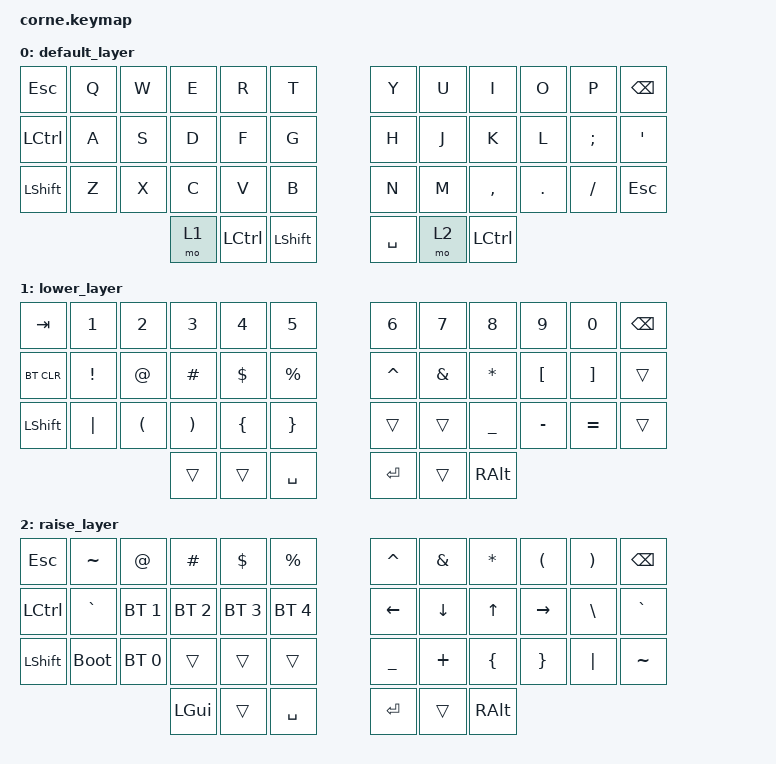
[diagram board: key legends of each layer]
/*
 * Copyright (c) 2020 The ZMK Contributors
 *
 * SPDX-License-Identifier: MIT
 */

#include <behaviors.dtsi>
#include <dt-bindings/zmk/bt.h>
#include <dt-bindings/zmk/keys.h>

/ {
    keymap {
        compatible = "zmk,keymap";

        default_layer {
            // -----------------------------------------------------------------------------------------
            // |  TAB |  Q  |  W  |  E  |  R  |  T  |   |  Y  |  U   |  I  |  O  |  P  | BSPC |
            // | CTRL |  A  |  S  |  D  |  F  |  G  |   |  H  |  J   |  K  |  L  |  ;  |  '   |
            // | SHFT |  Z  |  X  |  C  |  V  |  B  |   |  N  |  M   |  ,  |  .  |  /  | ESC  |
            //                    | GUI | LWR | SPC |   | ENT | RSE  | ALT |

            bindings = <
&kp ESCAPE  &kp Q  &kp W  &kp E  &kp R             &kp T             &kp Y      &kp U  &kp I             &kp O    &kp P     &kp BSPC
&kp LCTRL   &kp A  &kp S  &kp D  &kp F             &kp G             &kp H      &kp J  &kp K             &kp L    &kp SEMI  &kp SQT
&kp LSHFT   &kp Z  &kp X  &kp C  &kp V             &kp B             &kp N      &kp M  &kp COMMA         &kp DOT  &kp FSLH  &kp ESC
                          &mo 1  &kp LEFT_CONTROL  &kp LEFT_SHIFT    &kp SPACE  &mo 2  &kp LEFT_CONTROL
            >;
        };

        lower_layer {
            // -----------------------------------------------------------------------------------------
            // |  TAB |  1  |  2  |  3  |  4  |  5  |   |  6  |  7  |  8  |  9  |  0  | BSPC |
            // | BTCLR| BT1 | BT2 | BT3 | BT4 | BT5 |   | LFT | DWN |  UP | RGT |     |      |
            // | SHFT |     |     |     |     |     |   |     |     |     |     |     |      |
            //                    | GUI |     | SPC |   | ENT |     | ALT |

            bindings = <
&kp TAB     &kp N1           &kp N2                &kp N3                 &kp N4          &kp N5             &kp N6     &kp N7         &kp N8          &kp N9            &kp N0             &kp BSPC
&bt BT_CLR  &kp EXCLAMATION  &kp AT_SIGN           &kp HASH               &kp DOLLAR      &kp PERCENT        &kp CARET  &kp AMPERSAND  &kp ASTERISK    &kp LEFT_BRACKET  &kp RIGHT_BRACKET  &trans
&kp LSHFT   &kp PIPE         &kp LEFT_PARENTHESIS  &kp RIGHT_PARENTHESIS  &kp LEFT_BRACE  &kp RIGHT_BRACE    &trans     &trans         &kp UNDERSCORE  &kp MINUS         &kp EQUAL          &trans
                                                   &trans                 &trans          &kp SPACE          &kp RET    &trans         &kp RALT
            >;
        };

        raise_layer {
            // -----------------------------------------------------------------------------------------
            // |  TAB |  !  |  @  |  #  |  $  |  %  |   |  ^  |  &  |  *  |  (  |  )  | BSPC |
            // | CTRL |     |     |     |     |     |   |  -  |  =  |  [  |  ]  |  \  |  `   |
            // | SHFT |     |     |     |     |     |   |  _  |  +  |  {  |  }  | "|" |  ~   |
            //                    | GUI |     | SPC |   | ENT |     | ALT |

            bindings = <
&kp ESCAPE  &kp TILDE    &kp AT        &kp HASH      &kp DLLR      &kp PRCNT       &kp CARET       &kp AMPS  &kp ASTRK     &kp LPAR   &kp RPAR  &kp BSPC
&kp LCTRL   &kp GRAVE    &bt BT_SEL 1  &bt BT_SEL 2  &bt BT_SEL 3  &bt BT_SEL 4    &kp LEFT_ARROW  &kp DOWN  &kp UP_ARROW  &kp RIGHT  &kp BSLH  &kp GRAVE
&kp LSHFT   &bootloader  &bt BT_SEL 0  &trans        &trans        &trans          &kp UNDER       &kp PLUS  &kp LBRC      &kp RBRC   &kp PIPE  &kp TILDE
                                       &kp LGUI      &trans        &kp SPACE       &kp RET         &trans    &kp RALT
            >;
        };
    };
};
